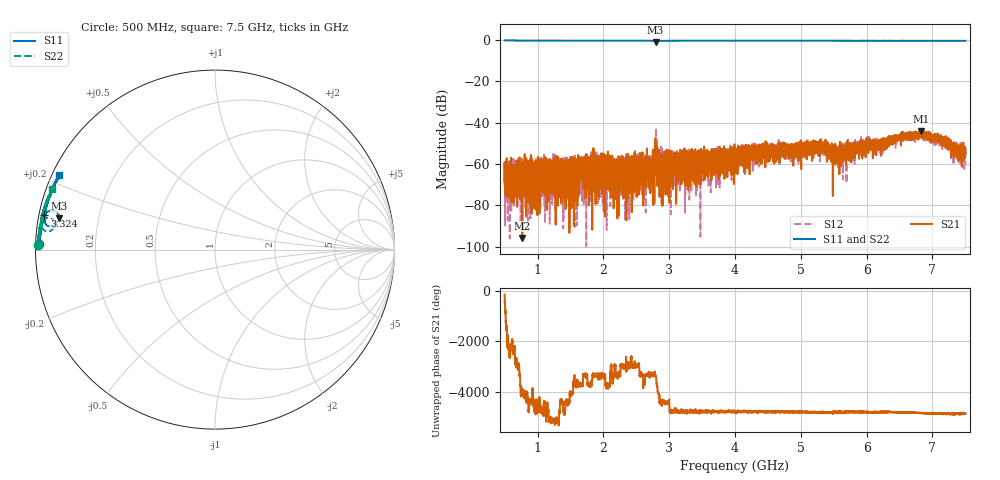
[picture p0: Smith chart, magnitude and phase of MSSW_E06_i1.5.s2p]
!Keysight Technologies,M9374A,MY55442783,A.12.55.05
!Date: Thursday, May 20, 2021 14:16:38
!Correction: S11(Full 2 Port(1,2))
!S21(Full 2 Port(1,2))
!S12(Full 2 Port(1,2))
!S22(Full 2 Port(1,2))
!S2P File: Measurements: S11, S21, S12, S22:
# Hz S  RI  R 50
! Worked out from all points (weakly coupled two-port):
!   7001 points, 500 MHz to 7.5 GHz, reference 50 ohm
!   highest |S21| = -43.93 dB at 6.833 GHz (marker M1); lowest = -95.8 dB at 769 MHz (marker M2)
!   lowest |S11| = -1.1 dB at 2.793 GHz (marker M3), VSWR 16.30, Z = 3.1 + j4.98 ohm
!   |S11| at or under -10 dB: nowhere
!   |S22| runs from -0.9 to -0.1 dB; largest |S21 - S12| = 0.009
!   S11 on the Smith chart (normalised r, x): 500 MHz: 0.01, +0.02; 3.324 GHz: 0.02, +0.10; 7.5 GHz: 0.02, +0.23
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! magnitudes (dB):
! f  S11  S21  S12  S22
! 500 MHz  -0.2  -59.1  -64.3  -0.1
! 547 MHz  -0.2  -67.3  -87.3  -0.1
! 769 MHz  -0.2  -95.8  -57.4  -0.1
! 1.238 GHz  -0.2  -64.0  -64.5  -0.1
! 1.586 GHz  -0.2  -71.0  -60.4  -0.1
! 1.667 GHz  -0.2  -62.1  -66.9  -0.1
! 1.849 GHz  -0.2  -58.6  -60.1  -0.1
! 2.168 GHz  -0.2  -63.1  -58.4  -0.1
! 2.737 GHz  -0.3  -58.3  -59.4  -0.2
! 2.793 GHz  -1.1  -51.4  -54.9  -0.9
! 2.811 GHz  -0.8  -57.7  -50.2  -0.6
! 2.834 GHz  -0.5  -52.9  -58.1  -0.4
! 2.88 GHz  -0.4  -58.9  -52.6  -0.3
! 2.941 GHz  -0.3  -64.0  -55.2  -0.2
! 3.324 GHz  -0.3  -63.5  -65.9  -0.2
! 4 GHz  -0.3  -54.0  -55.4  -0.2
! 5.167 GHz  -0.3  -53.4  -52.2  -0.2
! 5.567 GHz  -0.3  -53.7  -54.6  -0.2
! 6.334 GHz  -0.3  -49.3  -47.5  -0.2
! 6.833 GHz  -0.3  -43.9  -45.2  -0.3
! 7.231 GHz  -0.3  -47.8  -51.3  -0.3
! 7.5 GHz  -0.3  -53.2  -60.6  -0.3
